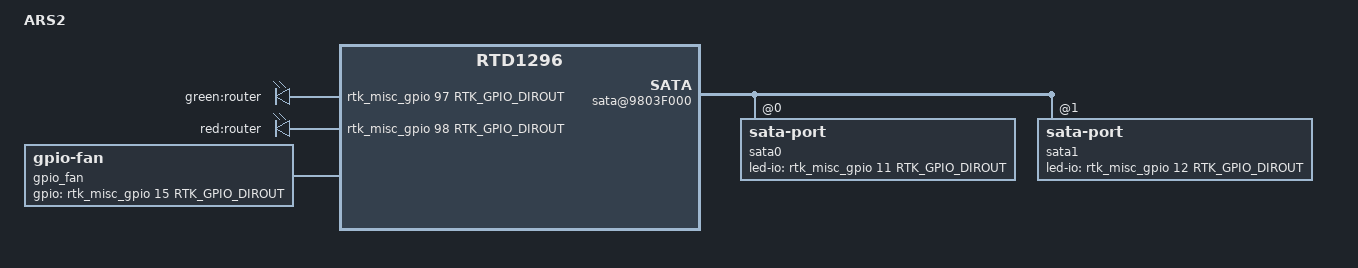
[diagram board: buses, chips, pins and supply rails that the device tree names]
/dts-v1/;

#include "rtd1296-4GB.dtsi"

/ {
	model= "ARS2";
	chosen {
		default-hostname = "ARS2";
	};

	aliases {
		led-boot = &led_green;
		led-failsafe = &led_red;
		led-running = &led_green;
		led-upgrade = &led_red;
	};

	sata@9803F000 {
		sata0: sata-port@0 {
			led-io = <&rtk_misc_gpio 11 RTK_GPIO_DIROUT 0>;
			/delete-property/ gpios; // ars2 SATA power is not assignd to gpio, (original gpio56)
		};
		sata1: sata-port@1 {
			led-io = <&rtk_misc_gpio 12 RTK_GPIO_DIROUT 0>;
			/delete-property/ gpios; // ars2 SATA power is not assignd to gpio, (original igpio15)
		};
	};
	ehci@98013000 {
		status = "disabled";
	};
	ohci@98013400 {
		status = "disabled";
	};
	rtk_dwc3_drd@98013200 {
		dwc3_drd@98020000 {
			dr_mode = "host";
		};
		rtk_dwc3_drd_type_c@0 {
			/delete-property/ drd_mode;
		};
	};
	rtk_dwc3_u2host@98013E00 {
		status = "disabled";
		dwc3_u2host@98029000 {
			status = "disabled";
		};
	};
	dwc3_u2host_usb2phy@0 {
		status = "disabled";
	};
	usb_phy_rle0599@0 {
		status = "disabled";
	};
	rtk_usb_power_manager@0 {
		/* For port1 and port2 */
		gpio1: gpio1 {
			realtek,power-gpio;
		};
		/* For port2 */
		gpio2: gpio2 {
			realtek,power-gpio;
		};
	};

	leds {
		compatible = "gpio-leds";

		led_green: green {
			label = "green:router";
			gpios = <&rtk_misc_gpio 97 RTK_GPIO_DIROUT GPIO_ACTIVE_HIGH>;
			default-state = "on";
		};
		led_red: red {
			label = "red:router";
			gpios = <&rtk_misc_gpio 98 RTK_GPIO_DIROUT GPIO_ACTIVE_HIGH>;
		};
	};

	gpio_fan: gpio_fan {
		compatible = "gpio-fan";
		gpios = <&rtk_misc_gpio 15 RTK_GPIO_DIROUT GPIO_ACTIVE_HIGH>;
		gpio-fan,speed-map = <0 0>,
				<5000 1>;
		#cooling-cells = <2>; /* min followed by max */
	};

	thermal-zones {
		cpu_thermal: cpu-thermal {
			cooling-maps {
				map_fan {
					trip = <&fan_alert0>;
					cooling-device = <&gpio_fan 1 1>;
				};
			};
		};
	};
};
